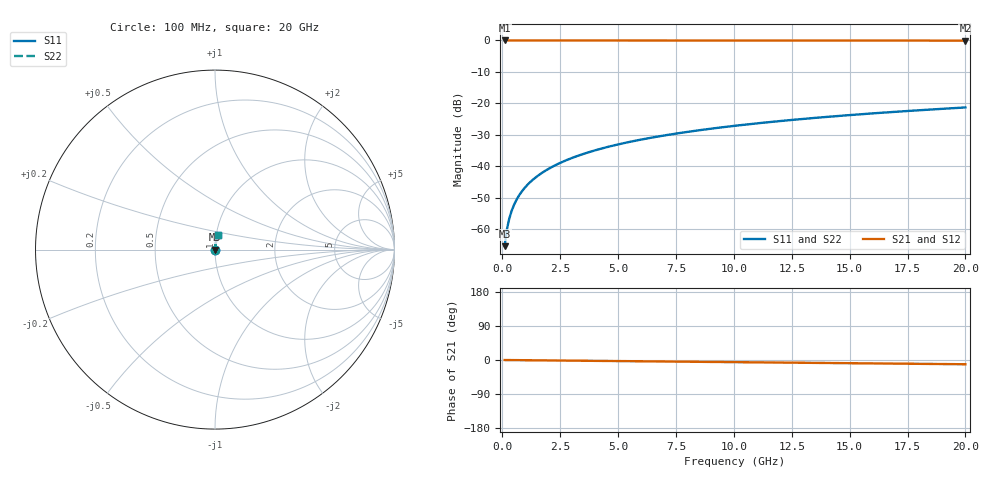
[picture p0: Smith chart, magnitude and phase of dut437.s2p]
! Touchstone file exported from HFSS 2026.1.0
!  File:  C:/ffzhzh/LocalFiles/Ansys_Project_Files/temp_train_TSV_437_1783021337_53980.aedt
!  Generated:  03:44:18 AM Jul  3, 2026
!  Design:  TSV
!  Project:  temp_train_TSV_437_1783021337_53980
! Variables:
!  h_bsmrdl = 2um
!  h_ox = 20um
!  h_rdl = 5um
!  h_sub = 97.76um
!  h_tmrdl = 5um
!  h_tsv = 97.76um
!  h_via = 3um
!  l_bsmrdl = 300um
!  l_sub = 414.96um
!  l_tmrdl = 200um
!  m_sub = 200um
!  pitch = 58.94um
!  r_tsv = 7.48um
!  s_tmrdl = 10um
!  w_bsmrdl = 18um
!  w_sub = 500um
!  w_tmrdl = 12um
!  x_tsv_center1 = 206um
!  x_tsv_center2 = 524um
!  x_tsv_center3 = 736um
!  x_tsv_center4 = 1054um
!  x_tsv_center5 = 1266um
!  x_tsv_center6 = 1584um
# GHz S MA R 50.000000
! Terminal data exported
! Port[1] = TSV1_1_T1
! Port[2] = TSV1_1_T2
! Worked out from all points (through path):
!   200 points, 100 MHz to 20 GHz, reference 50 ohm
!   highest |S21| = 0.00 dB at 100 MHz (marker M1); lowest = 0.0 dB at 20 GHz (marker M2)
!   group delay of S21, straight-line fit = 1.56 ps
!   lowest |S11| = -65.4 dB at 100 MHz (marker M3), VSWR 1.00, Z = 50 + j0.0482 ohm
!   |S11| at or under -10 dB: start of sweep to end of sweep
!   |S22| runs from -65.4 to -21.3 dB; largest |S21 - S12| = 2.6e-15
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0.1  0.000535 64.2  0.9998 -0.1  0.9998 -0.1  0.000535 64.2
! Gamma 0 0 0 0
! Port Impedance 50 0 50 0
0.2  0.0009921 75.7  0.9998 -0.1  0.9998 -0.1  0.0009921 75.7
0.3  0.001462 79.7  0.9997 -0.2  0.9997 -0.2  0.001462 79.7
0.4  0.001931 81.5  0.9997 -0.2  0.9997 -0.2  0.001931 81.5
0.5  0.002398 82.5  0.9997 -0.3  0.9997 -0.3  0.002398 82.5
0.6  0.00286 83.1  0.9997 -0.4  0.9997 -0.4  0.00286 83.1
0.7  0.003319 83.5  0.9996 -0.4  0.9996 -0.4  0.003319 83.5
0.8  0.003774 83.8  0.9996 -0.5  0.9996 -0.5  0.003774 83.8
1  0.004674 84.2  0.9996 -0.6  0.9996 -0.6  0.004674 84.2
1.4  0.006451 84.7  0.9995 -0.8  0.9995 -0.8  0.006451 84.7
1.7  0.007775 85.0  0.9994 -1.0  0.9994 -1.0  0.007775 85.0
2  0.009095 85.1  0.9994 -1.1  0.9994 -1.1  0.009095 85.1
2.7  0.01217 85.3  0.9992 -1.5  0.9992 -1.5  0.01217 85.3
3.5  0.01567 85.2  0.9991 -2.0  0.9991 -2.0  0.01567 85.2
4.2  0.01873 85.1  0.999 -2.4  0.999 -2.4  0.01873 85.1
5  0.02221 84.8  0.9988 -2.8  0.9988 -2.8  0.02221 84.8
6.8  0.03 84.1  0.9985 -3.8  0.9985 -3.8  0.03 84.1
8.3  0.03646 83.5  0.9982 -4.7  0.9982 -4.7  0.03646 83.5
10.1  0.04418 82.6  0.9977 -5.7  0.9977 -5.7  0.04418 82.6
13.4  0.05825 81.0  0.9968 -7.5  0.9968 -7.5  0.05825 81.0
16.7  0.07219 79.3  0.9958 -9.4  0.9958 -9.4  0.07219 79.3
20  0.08596 77.6  0.9945 -11.2  0.9945 -11.2  0.08596 77.6
